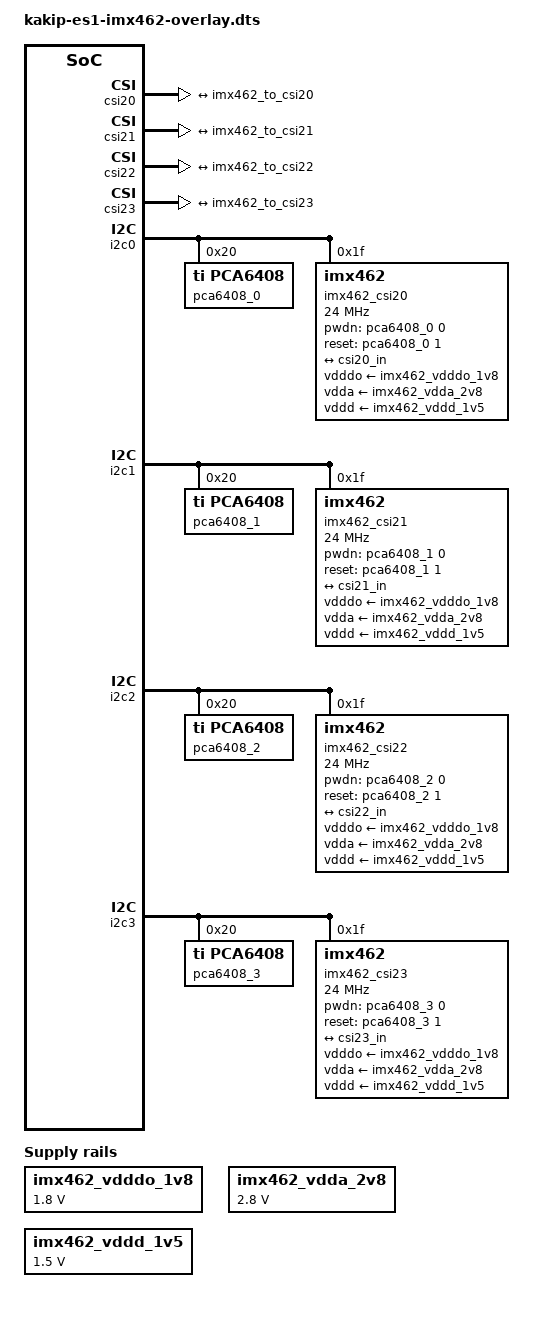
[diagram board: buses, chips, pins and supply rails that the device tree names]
/dts-v1/;
/plugin/;

#include <dt-bindings/gpio/gpio.h>

/ {
	imx462_vdddo_1v8: 1p8v {
		compatible = "regulator-fixed";
		regulator-name = "camera_vdddo";
		regulator-min-microvolt = <1800000>;
		regulator-max-microvolt = <1800000>;
		regulator-always-on;
	};

	imx462_vdda_2v8: 2p8v {
		compatible = "regulator-fixed";
		regulator-name = "camera_vdda";
		regulator-min-microvolt = <2800000>;
		regulator-max-microvolt = <2800000>;
		regulator-always-on;
	};

	imx462_vddd_1v5: 1p5v {
		compatible = "regulator-fixed";
		regulator-name = "camera_vddd";
		regulator-min-microvolt = <1500000>;
		regulator-max-microvolt = <1500000>;
		regulator-always-on;
	};
};


&csi20 {
	status = "okay";
	ports {
		port@0 {
			reg = <0>;
			csi20_in: endpoint {
				clock-lanes = <0>;
				data-lanes = <1 2 3 4>;
				remote-endpoint = <&imx462_to_csi20>;
			};
		};
	};
};

&csi21 {
	status = "okay";
	ports {
		port@0 {
			reg = <0>;
			csi21_in: endpoint {
				clock-lanes = <0>;
				data-lanes = <1 2 3 4>;
				remote-endpoint = <&imx462_to_csi21>;
			};
		};
	};
};

&csi22 {
	status = "okay";
	ports {
		port@0 {
			reg = <0>;
			csi22_in: endpoint {
				clock-lanes = <0>;
				data-lanes = <1 2 3 4>;
				remote-endpoint = <&imx462_to_csi22>;
			};
		};
	};
};

&csi23 {
	status = "okay";
	ports {
		port@0 {
			reg = <0>;
			csi23_in: endpoint {
				clock-lanes = <0>;
				data-lanes = <1 2 3 4>;
				remote-endpoint = <&imx462_to_csi23>;
			};
		};
	};
};


&i2c0 {
	pinctrl-0 = <&i2c0_pins>;
	pinctrl-names = "default";
	status = "okay";
	#address-cells = <1>;
	#size-cells = <0>;

	/delete-node/ ov5645_csi20@3c;

	pca6408_0: pca6408_0@20 {
		compatible = "ti,pca6408";
		gpio-controller;
		#gpio-cells = <2>;
		reg = <0x20>;
		status = "okay";
	};

	imx462_csi20: imx462_csi20@1f {
		compatible = "imx462";
		reg = <0x1f>;
		clock-names = "xclk";
		clocks = <&clk_ext_camera>;
		clock-frequency = <24000000>;
		camera-mipi-clk = <800>; //Not used , but for future purpose
		camera-mipi-lanes = <4>; //Not used , but for future purpose
		vdddo-supply = <&imx462_vdddo_1v8>;
		vdda-supply = <&imx462_vdda_2v8>;
		vddd-supply = <&imx462_vddd_1v5>;

		pwdn-gpios = <&pca6408_0 0 GPIO_ACTIVE_HIGH>;
		reset-gpios = <&pca6408_0 1 GPIO_ACTIVE_HIGH>;

		port {
			imx462_to_csi20: endpoint {
				clock-lanes = <0>;
				data-lanes = <1 2 3 4>;
				remote-endpoint = <&csi20_in>;
			};
		};
	};
};

&i2c1 {
	pinctrl-0 = <&i2c1_pins>;
	pinctrl-names = "default";
	status = "okay";
	#address-cells = <1>;
	#size-cells = <0>;

	/delete-node/ ov5645_csi21@3c;

	pca6408_1: pca6408_1@20 {
		compatible = "ti,pca6408";
		gpio-controller;
		#gpio-cells = <2>;
		reg = <0x20>;
		status = "okay";
	};

	imx462_csi21: imx462_csi21@1f {
		compatible = "imx462";
		reg = <0x1f>;
		clock-names = "xclk";
		clocks = <&clk_ext_camera>;
		clock-frequency = <24000000>;
		camera-mipi-clk = <800>; //Not used , but for future purpose
		camera-mipi-lanes = <4>; //Not used , but for future purpose
		vdddo-supply = <&imx462_vdddo_1v8>;
		vdda-supply = <&imx462_vdda_2v8>;
		vddd-supply = <&imx462_vddd_1v5>;
		pwdn-gpios = <&pca6408_1 0 GPIO_ACTIVE_HIGH>;
		reset-gpios = <&pca6408_1 1 GPIO_ACTIVE_HIGH>;

		port {
			imx462_to_csi21: endpoint {
				clock-lanes = <0>;
				data-lanes = <1 2 3 4>;
				remote-endpoint = <&csi21_in>;
			};
		};
	};
};

&i2c2 {
	pinctrl-0 = <&i2c2_pins>;
	pinctrl-names = "default";
	status = "okay";
	#address-cells = <1>;
	#size-cells = <0>;

	/delete-node/ ov5645_csi22@3c;

	pca6408_2: pca6408_2@20	{
		compatible = "ti,pca6408";
		gpio-controller;
		#gpio-cells = <2>;
		reg = <0x20>;
		status = "okay";
	};

	imx462_csi22: imx462_csi22@1f {
		compatible = "imx462";
		reg = <0x1f>;
		clock-names = "xclk";
		clocks = <&clk_ext_camera>;
		clock-frequency = <24000000>;
		camera-mipi-clk = <800>; //Not used , but for future purpose
		camera-mipi-lanes = <4>; //Not used , but for future purpose
		vdddo-supply = <&imx462_vdddo_1v8>;
		vdda-supply = <&imx462_vdda_2v8>;
		vddd-supply = <&imx462_vddd_1v5>;
		pwdn-gpios = <&pca6408_2 0 GPIO_ACTIVE_HIGH>;
		reset-gpios = <&pca6408_2 1 GPIO_ACTIVE_HIGH>;

		port {
			imx462_to_csi22: endpoint {
				clock-lanes = <0>;
				data-lanes = <1 2 3 4>;
				remote-endpoint = <&csi22_in>;
			};
		};
	};
};

&i2c3 {
	pinctrl-0 = <&i2c3_pins>;
	pinctrl-names = "default";
	status = "okay";
	#address-cells = <1>;
	#size-cells = <0>;

	/delete-node/ ov5645_csi23@3c;

	pca6408_3: pca6408_3@20 {
		compatible = "ti,pca6408";
		gpio-controller;
		#gpio-cells = <2>;
		reg = <0x20>;
		status = "okay";
	};

	imx462_csi23: imx462_csi23@1f {
		compatible = "imx462";
		reg = <0x1f>;
		clock-names = "xclk";
		clocks = <&clk_ext_camera>;
		clock-frequency = <24000000>;
		camera-mipi-clk = <800>; //Not used , but for future purpose
		camera-mipi-lanes = <4>; //Not used , but for future purpose
		vdddo-supply = <&imx462_vdddo_1v8>;
		vdda-supply = <&imx462_vdda_2v8>;
		vddd-supply = <&imx462_vddd_1v5>;
		pwdn-gpios = <&pca6408_3 0 GPIO_ACTIVE_HIGH>;
		reset-gpios = <&pca6408_3 1 GPIO_ACTIVE_HIGH>;

		port {
			imx462_to_csi23: endpoint {
				clock-lanes = <0>;
				data-lanes = <1 2 3 4>;
				remote-endpoint = <&csi23_in>;
			};
		};
	};
};
